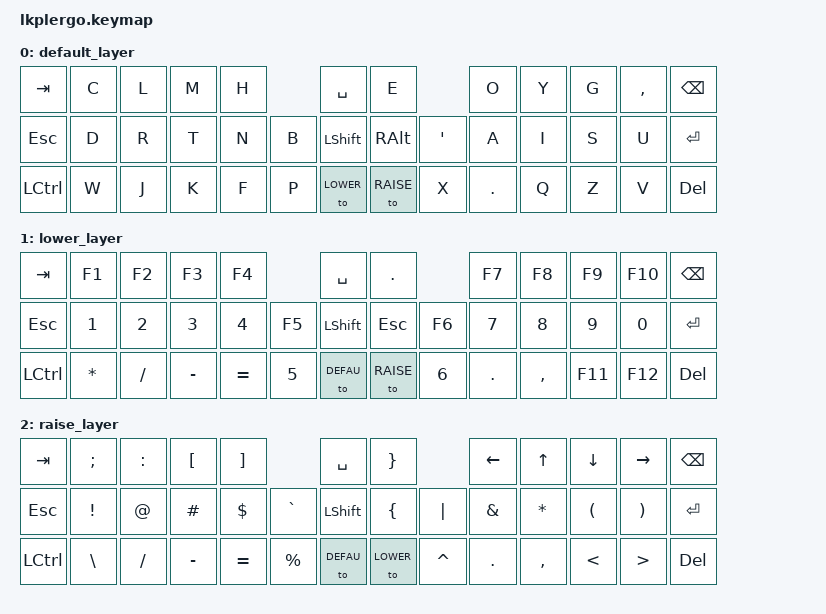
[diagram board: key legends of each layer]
#include <behaviors.dtsi>
#include <dt-bindings/zmk/keys.h>
#define DEFAU 0
#define LOWER 1
#define RAISE 2

/ {
    keymap {
        compatible = "zmk,keymap";

        default_layer {
            bindings = <
    &kp TAB    &kp C    &kp L    &kp M     &kp H               &kp SPACE &kp E               &kp O     &kp Y     &kp G     &kp COMMA &kp BSPC
    &kp ESC    &kp D    &kp R    &kp T     &kp N     &kp B     &kp LSHFT &kp RALT  &kp APOS  &kp A     &kp I     &kp S     &kp U     &kp RET
    &kp LCTRL  &kp W    &kp J    &kp K     &kp F     &kp P     &to LOWER &to RAISE &kp X     &kp DOT   &kp Q     &kp Z     &kp V     &kp DEL
            >;
         };

        lower_layer {
            bindings = <
    &kp TAB   &kp F1   &kp F2    &kp F3    &kp F4              &kp SPACE &kp DOT              &kp F7    &kp F8    &kp F9    &kp F10   &kp BSPC
    &kp ESC   &kp N1   &kp N2    &kp N3    &kp N4    &kp F5    &kp LSHFT &kp ESC   &kp F6     &kp N7    &kp N8    &kp N9    &kp N0    &kp RET
    &kp LCTRL &kp STAR &kp FSLH  &kp MINUS &kp EQUAL &kp N5    &to DEFAU &to RAISE &kp N6     &kp DOT   &kp COMMA &kp F11   &kp F12   &kp DEL
            >;
        };

        raise_layer {
            bindings = <
    &kp TAB    &kp SEMI  &kp COLON &kp LBKT  &kp RBKT             &kp SPACE &kp RBRC            &kp LEFT  &kp UP    &kp DOWN  &kp RIGHT &kp BSPC
    &kp ESC    &kp EXCL  &kp AT    &kp POUND &kp DLLR   &kp GRAVE &kp LSHFT &kp LBRC  &kp PIPE  &kp AMPS  &kp STAR  &kp LPAR  &kp RPAR  &kp RET
    &kp LCTRL  &kp BSLH  &kp FSLH  &kp MINUS &kp EQUAL  &kp PRCNT &to DEFAU &to LOWER &kp CARET &kp DOT   &kp COMMA &kp LT    &kp GT    &kp DEL
            >;
        };
    };
};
